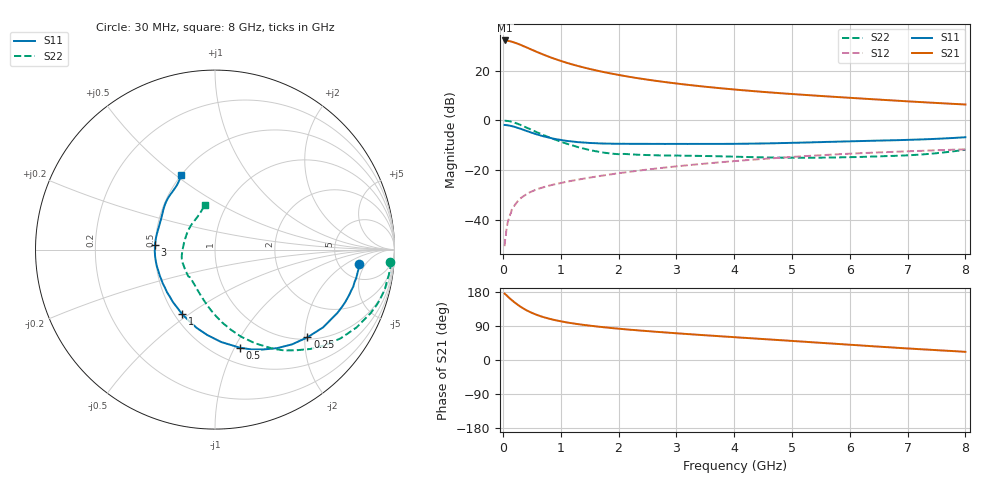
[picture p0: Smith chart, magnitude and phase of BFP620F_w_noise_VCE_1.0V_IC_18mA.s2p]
! Infineon Technologies  Discrete & RF Semiconductors
! BFP620F
! VCE =  1.0 V,  IC =  18 mA
! Common Emitter S-Parameters:  Dec 2014
# GHz  S  MA  R  50
!  f  S11  S21  S12  S22
! GHz  MAG  ANG  MAG  ANG  MAG  ANG  MAG  ANG
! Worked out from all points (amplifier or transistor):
!   95 points, 30 MHz to 8 GHz, reference 50 ohm
!   highest |S21| = 32.2 dB at 40 MHz (marker M1)
!   |S21| within 3 dB of that: start of sweep to 428.7 MHz
!   unconditionally stable (mu >= 1): 3.141 GHz to end of sweep
!   at 300 MHz: K = 0.26, MSG = 31.0 dB, |S12| = -31.5 dB
!   at 3.3 GHz: K = 1.01, MAG = 15.5 dB, |S12| = -17.9 dB
!   at 8 GHz: K = 1.07, MAG = 7.5 dB, |S12| = -11.7 dB
!   lowest NFmin = 0.78 dB at 450 MHz
!   S11 on the Smith chart (normalised r, x): 30 MHz: 7.80, -3.55; 250 MHz: 1.05, -2.06; 500 MHz: 0.65, -1.05; 1 GHz: 0.55, -0.47; 3 GHz: 0.50, +0.03; 8 GHz: 0.50, +0.52
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0.03  0.8084 -5.6  40.93 175.5  0.0029 94.6  0.9799 -4.0
0.04  0.8073 -7.5  40.94 173.9  0.004 84.3  0.9822 -5.6
0.08  0.7975 -15.0  40.54 168.2  0.0083 85.1  0.9731 -11.7
0.14  0.7722 -25.7  38.96 159.8  0.0135 81.8  0.9431 -20.6
0.2  0.742 -35.7  37.1 152.3  0.0191 73.2  0.9002 -28.8
0.25  0.7101 -43.5  35.4 146.5  0.0229 70.4  0.8579 -35.1
0.3  0.6804 -50.9  33.6 141.2  0.0265 68.0  0.8136 -40.9
0.4  0.6167 -64.5  30.01 131.9  0.0319 63.7  0.7215 -51.0
0.5  0.5631 -75.9  26.64 124.5  0.0369 60.3  0.6408 -59.6
0.6  0.5159 -86.2  23.72 118.3  0.0412 58.6  0.5682 -66.8
0.7  0.4781 -95.1  21.25 113.2  0.0447 57.0  0.5069 -73.3
0.8  0.448 -103.2  19.13 109.0  0.0482 56.2  0.4548 -78.8
1  0.4035 -117.0  15.86 102.2  0.0544 55.4  0.373 -88.8
1.2  0.375 -128.6  13.46 96.9  0.0608 55.2  0.3136 -97.9
1.4  0.3575 -138.5  11.66 92.6  0.0668 55.2  0.2694 -106.8
2  0.3368 -160.9  8.262 82.7  0.0861 54.6  0.208 -131.9
2.7  0.3358 -178.2  6.154 73.9  0.1083 52.7  0.1967 -151.2
3  0.3352 175.8  5.553 70.5  0.1181 51.6  0.1953 -157.2
4.1  0.3374 158.0  4.103 59.2  0.1539 46.3  0.184 -174.8
5.4  0.3621 142.9  3.163 46.3  0.1953 38.0  0.1769 159.9
6.7  0.3956 128.6  2.542 33.4  0.2303 28.6  0.1912 132.9
8  0.4572 114.4  2.09 21.5  0.2606 19.4  0.2554 102.6
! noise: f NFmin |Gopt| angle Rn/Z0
0.45  0.78  0.08  6  0.21
0.9  0.84  0.08  15  0.18
1.5  0.89  0.08  16  0.14
1.8  0.91  0.07  17  0.13
1.9  0.92  0.04  34  0.15
2.4  0.96  0.03  60  0.14
3.5  1.04  0.03  133  0.14
5.5  1.18  0.13  224  0.09
6  1.21  0.13  245  0.13
